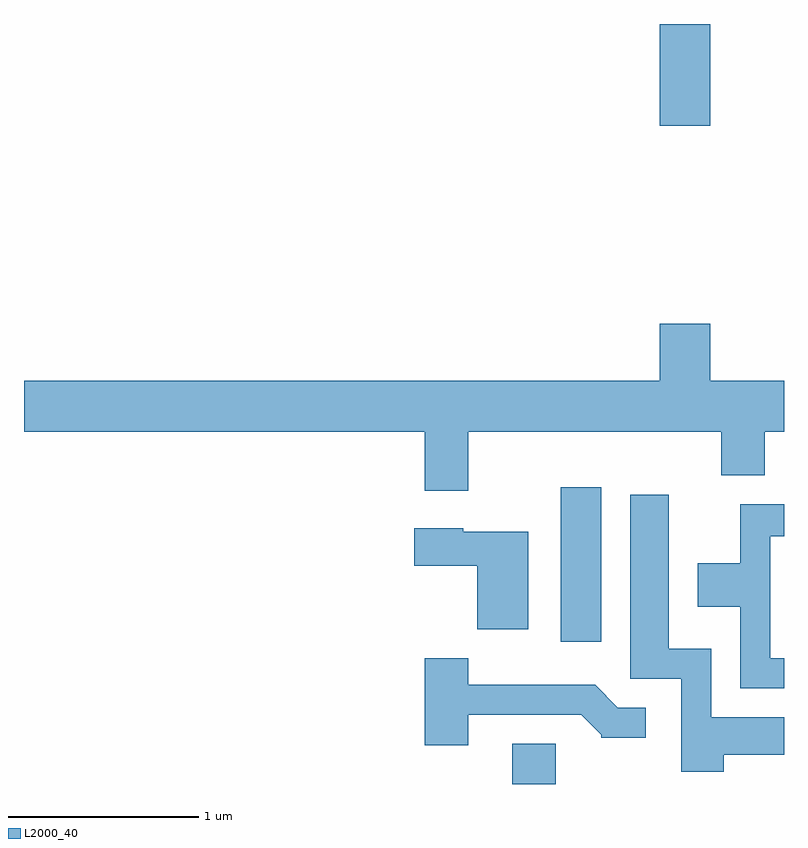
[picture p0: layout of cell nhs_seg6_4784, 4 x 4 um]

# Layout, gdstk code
import gdstk
lib = gdstk.Library(unit=1e-6, precision=1e-09)
def R(c, l, rs):  # rectangles x0, y0, x1, y1
    for r in rs: c.add(gdstk.rectangle(r[:2], r[2:], *l))
def P(c, l, *ps):  # polygons
    for p in ps: c.add(gdstk.Polygon(p, *l))
L2000_40 = (2000, 40)

nhs_seg6_4784 = lib.new_cell('nhs_seg6_4784')
R(nhs_seg6_4784, L2000_40, [(334.181,1568.162,334.409,1568.374), (334.436,1568.911,334.649,1569.724), (334.956,1571.626,335.224,1572.162)])
P(nhs_seg6_4784, L2000_40, [(333.949,1570.016),(335.281,1570.016),(335.281,1569.786),(335.509,1569.786),(335.509,1570.016),(335.611,1570.016),(335.611,1570.284),(335.224,1570.284),(335.224,1570.584),(334.956,1570.584),(334.956,1570.284),(331.611,1570.284),(331.611,1570.016),(333.721,1570.016),(333.721,1569.706),(333.949,1569.706)],
  [(335.294,1568.316),(335.611,1568.316),(335.611,1568.514),(335.229,1568.514),(335.229,1568.874),(335.004,1568.874),(335.004,1569.684),(334.801,1569.684),(334.801,1568.716),(335.071,1568.716),(335.071,1568.226),(335.294,1568.226)],
  [(335.611,1568.824),(335.539,1568.824),(335.539,1569.466),(335.611,1569.466),(335.611,1569.634),(335.381,1569.634),(335.381,1569.324),(335.156,1569.324),(335.156,1569.096),(335.381,1569.096),(335.381,1568.666),(335.611,1568.666)],
  [(334.264,1569.489),(333.924,1569.489),(333.924,1569.509),(333.666,1569.509),(333.666,1569.311),(333.996,1569.311),(333.996,1568.976),(334.264,1568.976)],
  [(333.949,1568.526),(334.544,1568.526),(334.65,1568.42),(334.65,1568.406),(334.883,1568.406),(334.883,1568.564),(334.737,1568.564),(334.617,1568.684),(333.949,1568.684),(333.949,1568.824),(333.721,1568.824),(333.721,1568.366),(333.949,1568.366)])

lib.write_gds('nhs_seg6_4784.gds')
